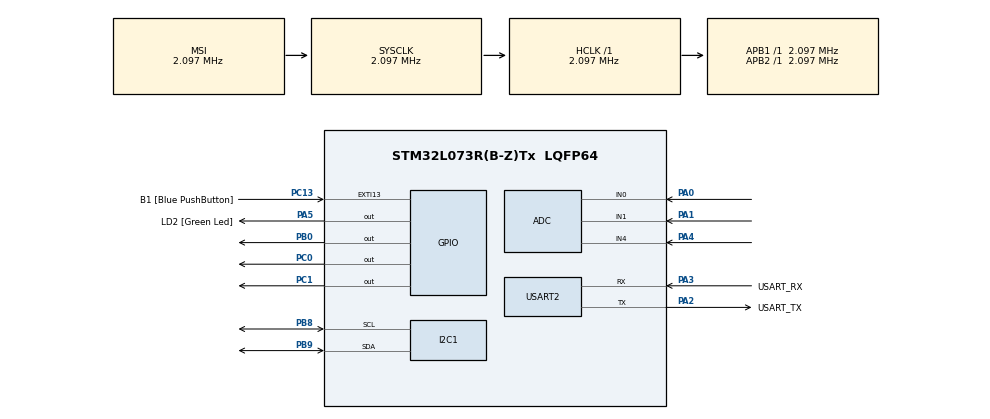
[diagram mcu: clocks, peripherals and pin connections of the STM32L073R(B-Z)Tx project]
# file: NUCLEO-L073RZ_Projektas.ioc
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ADC.DiscontinuousConvMode=ENABLE
I2C1.Timing=0x00000608
Mcu.Family=STM32L0
Mcu.Name=STM32L073R(B-Z)Tx
Mcu.Package=LQFP64
PA0.Mode=IN0
PA0.Signal=ADC_IN0
PA1.Mode=IN1
PA1.Signal=ADC_IN1
PA13.GPIO_Label=TMS
PA13.Mode=Serial_Wire
PA13.Signal=SYS_SWDIO
PA14.GPIO_Label=TCK
PA14.Mode=Serial_Wire
PA14.Signal=SYS_SWCLK
PA2.GPIO_Label=USART_TX
PA2.Mode=Asynchronous
PA2.Signal=USART2_TX
PA3.GPIO_Label=USART_RX
PA3.Mode=Asynchronous
PA3.Signal=USART2_RX
PA4.Mode=IN4
PA4.Signal=ADC_IN4
PA5.GPIO_Label=LD2 [Green Led]
PA5.Signal=GPIO_Output
PB0.Signal=GPIO_Output
PB8.Mode=I2C
PB8.Signal=I2C1_SCL
PB9.Mode=I2C
PB9.Signal=I2C1_SDA
PC0.Signal=GPIO_Output
PC1.Signal=GPIO_Output
PC13.GPIO_Label=B1 [Blue PushButton]
PC13.GPIO_ModeDefaultEXTI=GPIO_MODE_IT_FALLING
PC13.Signal=GPXTI13
PC14-OSC32_IN.Mode=LSE-External-Oscillator
PC14-OSC32_IN.Signal=RCC_OSC32_IN
PC15-OSC32_OUT.Mode=LSE-External-Oscillator
PC15-OSC32_OUT.Signal=RCC_OSC32_OUT
PH0-OSC_IN.GPIO_Label=MCO
PH0-OSC_IN.Mode=HSE-External-Clock-Source
PH0-OSC_IN.Signal=RCC_OSC_IN
ProjectManager.HeapSize=0x200
ProjectManager.StackSize=0x400
ProjectManager.TargetToolchain=MDK-ARM V5.32
RCC.AHBFreq_Value=2097000
RCC.APB1Freq_Value=2097000
RCC.APB1TimFreq_Value=2097000
RCC.APB2Freq_Value=2097000
RCC.APB2TimFreq_Value=2097000
RCC.HSE_VALUE=8000000
RCC.HSI16_VALUE=16000000
RCC.HSI48_VALUE=48000000
RCC.HSI_VALUE=16000000
RCC.MSI_VALUE=2097000
RCC.SYSCLKFreq_VALUE=2097000
RCC.VCOOutputFreq_Value=48000000
USART2.VirtualMode-Asynchronous=VM_ASYNC
board=NUCLEO-L073RZ

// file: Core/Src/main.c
/* USER CODE BEGIN Header */
/**
  ******************************************************************************
  * @file           : main.c
  * @brief          : Main program body
  ******************************************************************************
  * @attention
  *
  * Copyright (c) 2026 STMicroelectronics.
  * All rights reserved.
  *
  * This software is licensed under terms that can be found in the LICENSE file
  * in the root directory of this software component.
  * If no LICENSE file comes with this software, it is provided AS-IS.
  *
  ******************************************************************************
  */
/* USER CODE END Header */
#include "main.h"

/* USER CODE BEGIN Includes */
#include <string.h>
#include <stdio.h>
#include <math.h>
#include "i2c_lcd.h"
/* USER CODE END Includes */

ADC_HandleTypeDef hadc;

I2C_HandleTypeDef hi2c1;

UART_HandleTypeDef huart2;

void SystemClock_Config(void);
static void MX_GPIO_Init(void);
static void MX_I2C1_Init(void);
static void MX_USART2_UART_Init(void);
static void MX_ADC_Init(void);

int main(void)
{

  /* MCU Configuration--------------------------------------------------------*/

  /* Reset of all peripherals, Initializes the Flash interface and the Systick. */
  HAL_Init();

  /* Configure the system clock */
  SystemClock_Config();

  /* Initialize all configured peripherals */
  MX_GPIO_Init();
  MX_I2C1_Init();
  MX_USART2_UART_Init();
  MX_ADC_Init();
  /* USER CODE BEGIN 2 */
	HAL_Delay(200);
	lcd_init();         // Paleidžiame ekraną
  lcd_clear();        // Išvalome jį
  lcd_put_cur(0, 0);  // Nustatome kursorių į 0 eilutę, 0 stulpelį
  lcd_send_string("Sveiki!"); // Pasisveikiname!
  /* USER CODE END 2 */

  /* Infinite loop */
  while (1)
  {

/* USER CODE BEGIN 3 */

    uint32_t adc_sumos_hv[3] = {0, 0, 0};
    uint32_t adc_sumos_lv[3] = {0, 0, 0};
    float itampa[3] = {0.0f, 0.0f, 0.0f};
    float vidurkis;
    char zinute[128];
    static uint8_t lcd_skaitiklis = 0;

    // =========================================================================
    // 1. AUKŠTOS ĮTAMPOS REŽIMAS (Saugus matavimas, koeficientas x11)
    // =========================================================================

    GPIO_InitTypeDef GPIO_InitStruct = {0};
    GPIO_InitStruct.Mode = GPIO_MODE_OUTPUT_PP;
    GPIO_InitStruct.Speed = GPIO_SPEED_FREQ_LOW;

    // V1 kanalas: Griežtai priverčiame PB0 tapti žeme (GND)
    GPIO_InitStruct.Pin = GPIO_PIN_0;
    HAL_GPIO_Init(GPIOB, &GPIO_InitStruct);
    HAL_GPIO_WritePin(GPIOB, GPIO_PIN_0, GPIO_PIN_RESET);

    // V2 ir V3 kanalai: Griežtai priverčiame PC1 ir PC0 tapti žeme (GND)
    GPIO_InitStruct.Pin = GPIO_PIN_0 | GPIO_PIN_1;
    HAL_GPIO_Init(GPIOC, &GPIO_InitStruct);
    HAL_GPIO_WritePin(GPIOC, GPIO_PIN_0 | GPIO_PIN_1, GPIO_PIN_RESET);

    HAL_Delay(5); // Leidžiame grandinei stabilizuotis

    // Nuskaitome ADC
    for (int ciklas = 0; ciklas < 10; ciklas++) {
        for (int i = 0; i < 3; i++) {
            HAL_ADC_Start(&hadc);
            HAL_ADC_PollForConversion(&hadc, 10);
            adc_sumos_hv[i] += HAL_ADC_GetValue(&hadc);
        }
        HAL_ADC_Stop(&hadc);
    }

    float kalibracija_hv[3] = {0.9610f, 0.9532f, 0.9630f};

    // Apskaičiuojame preliminarias įtampas (su x11 dalikliu ir pritaikyta kalibracija)
    for (int i = 0; i < 3; i++) {
        itampa[i] = ((float)adc_sumos_hv[i] / 10.0f / 4095.0f) * 3.3f * 11.0f * kalibracija_hv[i];
    }

    // =========================================================================
    // 2. IŠMANUSIS ŽEMOS ĮTAMPOS REŽIMAS (Auto-Ranging + KALIBRACIJA)
    // =========================================================================

    uint8_t low_voltage_mode[3] = {0, 0, 0};

    // SVARBU: Perjungiame į tikslų LV režimą TIK JEI esame tikri, kad tai ne triukšmas (> 0.20 V)
    // V1 kanalas (PB0)
    if (itampa[0] > 0.20f && itampa[0] < 3.0f) {
        low_voltage_mode[0] = 1; GPIO_InitStruct.Pin = GPIO_PIN_0; GPIO_InitStruct.Mode = GPIO_MODE_INPUT; HAL_GPIO_Init(GPIOB, &GPIO_InitStruct);
    }
    // V2 kanalas (PC1)
    if (itampa[1] > 0.20f && itampa[1] < 3.0f) {
        low_voltage_mode[1] = 1; GPIO_InitStruct.Pin = GPIO_PIN_1; GPIO_InitStruct.Mode = GPIO_MODE_INPUT; HAL_GPIO_Init(GPIOC, &GPIO_InitStruct);
    }
    // V3 kanalas (PC0)
    if (itampa[2] > 0.20f && itampa[2] < 3.0f) {
        low_voltage_mode[2] = 1; GPIO_InitStruct.Pin = GPIO_PIN_0; GPIO_InitStruct.Mode = GPIO_MODE_INPUT; HAL_GPIO_Init(GPIOC, &GPIO_InitStruct);
    }

    // Jei bent vienam kanalui reikia tikslumo, darome antrą matavimą BE daliklio
    if (low_voltage_mode[0] || low_voltage_mode[1] || low_voltage_mode[2]) {
        HAL_Delay(5);

        for (int ciklas = 0; ciklas < 10; ciklas++) {
            for (int i = 0; i < 3; i++) {
                HAL_ADC_Start(&hadc);
                HAL_ADC_PollForConversion(&hadc, 10);
                uint32_t val = HAL_ADC_GetValue(&hadc);
                if (low_voltage_mode[i]) {
                    adc_sumos_lv[i] += val;
                }
            }
            HAL_ADC_Stop(&hadc);
        }

				float kalibracija_lv[3] = {0.9615f, 0.9615f, 0.9615f};

        // Perskaičiuojame tiksliai (daugiklis x1.0) pritaikant kalibraciją
        for (int i = 0; i < 3; i++) {
            if (low_voltage_mode[i]) {
                itampa[i] = ((float)adc_sumos_lv[i] / 10.0f / 4095.0f) * 3.3f * 1.0f * kalibracija_lv[i];
            }
        }
    }

    // =========================================================================
    // 3. TRIUKŠMŲ FILTRAS IR IŠVEDIMAS
    // =========================================================================

		float suma = 0.0f;
    int aktyvus_kanalai = 0;

    // Viskas, kas yra žemiau 1 V (tušti laidai ir triukšmas), yra nulinama
    for (int i = 0; i < 3; i++) {
        if (itampa[i] < 1.0f) {
            itampa[i] = 0.0f;
        } else {
            // Jei kanalas aktyvus (rodo > 0.05 V), pridedame jį prie sumos
            suma += itampa[i];
            aktyvus_kanalai++;
        }
    }

    // Išmanusis vidurkis: daliname tik iš tų kanalų, prie kurių prijungta įtampa
    if (aktyvus_kanalai > 0) {
        vidurkis = suma / (float)aktyvus_kanalai;
    } else {
        vidurkis = 0.0f;
    }

    int v1_sv = (int)itampa[0]; int v1_tr = (int)(fabs(itampa[0] - v1_sv) * 100);
    int v2_sv = (int)itampa[1]; int v2_tr = (int)(fabs(itampa[1] - v2_sv) * 100);
    int v3_sv = (int)itampa[2]; int v3_tr = (int)(fabs(itampa[2] - v3_sv) * 100);
    int vid_sv = (int)vidurkis; int vid_tr = (int)(fabs(vidurkis - vid_sv) * 100);

    sprintf(zinute, "V1: %2d.%02d V | V2: %2d.%02d V | V3: %2d.%02d V ---> Vidurkis: %2d.%02d V\r\n",
            v1_sv, v1_tr, v2_sv, v2_tr, v3_sv, v3_tr, vid_sv, vid_tr);
    HAL_UART_Transmit(&huart2, (uint8_t*)zinute, strlen(zinute), 1000);

    lcd_skaitiklis++;
    if (lcd_skaitiklis >= 2) {
        lcd_skaitiklis = 0;
        char eilute1[32];
        char eilute2[32];

        sprintf(eilute1, "V1:%2d.%02dV2:%2d.%02d", v1_sv, v1_tr, v2_sv, v2_tr);
        sprintf(eilute2, "V3:%2d.%02dVD:%2d.%02d", v3_sv, v3_tr, vid_sv, vid_tr);

        lcd_put_cur(0, 0);
        lcd_send_string(eilute1);
        lcd_put_cur(1, 0);
        lcd_send_string(eilute2);
    }

    HAL_Delay(1000);
  }
/* USER CODE END 3 */
}

void SystemClock_Config(void)
{
  RCC_OscInitTypeDef RCC_OscInitStruct = {0};
  RCC_ClkInitTypeDef RCC_ClkInitStruct = {0};
  RCC_PeriphCLKInitTypeDef PeriphClkInit = {0};

  /** Configure the main internal regulator output voltage
  */
  __HAL_PWR_VOLTAGESCALING_CONFIG(PWR_REGULATOR_VOLTAGE_SCALE1);

  /** Initializes the RCC Oscillators according to the specified parameters
  * in the RCC_OscInitTypeDef structure.
  */
  RCC_OscInitStruct.OscillatorType = RCC_OSCILLATORTYPE_MSI;
  RCC_OscInitStruct.MSIState = RCC_MSI_ON;
  RCC_OscInitStruct.MSICalibrationValue = 0;
  RCC_OscInitStruct.MSIClockRange = RCC_MSIRANGE_5;
  RCC_OscInitStruct.PLL.PLLState = RCC_PLL_NONE;
  if (HAL_RCC_OscConfig(&RCC_OscInitStruct) != HAL_OK)
  {
    Error_Handler();
  }

  /** Initializes the CPU, AHB and APB buses clocks
  */
  RCC_ClkInitStruct.ClockType = RCC_CLOCKTYPE_HCLK|RCC_CLOCKTYPE_SYSCLK
                              |RCC_CLOCKTYPE_PCLK1|RCC_CLOCKTYPE_PCLK2;
  RCC_ClkInitStruct.SYSCLKSource = RCC_SYSCLKSOURCE_MSI;
  RCC_ClkInitStruct.AHBCLKDivider = RCC_SYSCLK_DIV1;
  RCC_ClkInitStruct.APB1CLKDivider = RCC_HCLK_DIV1;
  RCC_ClkInitStruct.APB2CLKDivider = RCC_HCLK_DIV1;

  if (HAL_RCC_ClockConfig(&RCC_ClkInitStruct, FLASH_LATENCY_0) != HAL_OK)
  {
    Error_Handler();
  }
  PeriphClkInit.PeriphClockSelection = RCC_PERIPHCLK_USART2|RCC_PERIPHCLK_I2C1;
  PeriphClkInit.Usart2ClockSelection = RCC_USART2CLKSOURCE_PCLK1;
  PeriphClkInit.I2c1ClockSelection = RCC_I2C1CLKSOURCE_PCLK1;
  if (HAL_RCCEx_PeriphCLKConfig(&PeriphClkInit) != HAL_OK)
  {
    Error_Handler();
  }
}

static void MX_ADC_Init(void)
{

  ADC_ChannelConfTypeDef sConfig = {0};

  /** Configure the global features of the ADC (Clock, Resolution, Data Alignment and number of conversion)
  */
  hadc.Instance = ADC1;
  hadc.Init.OversamplingMode = DISABLE;
  hadc.Init.ClockPrescaler = ADC_CLOCK_SYNC_PCLK_DIV1;
  hadc.Init.Resolution = ADC_RESOLUTION_12B;
  hadc.Init.SamplingTime = ADC_SAMPLETIME_160CYCLES_5;
  hadc.Init.ScanConvMode = ADC_SCAN_DIRECTION_FORWARD;
  hadc.Init.DataAlign = ADC_DATAALIGN_RIGHT;
  hadc.Init.ContinuousConvMode = DISABLE;
  hadc.Init.DiscontinuousConvMode = ENABLE;
  hadc.Init.ExternalTrigConvEdge = ADC_EXTERNALTRIGCONVEDGE_NONE;
  hadc.Init.ExternalTrigConv = ADC_SOFTWARE_START;
  hadc.Init.DMAContinuousRequests = DISABLE;
  hadc.Init.EOCSelection = ADC_EOC_SINGLE_CONV;
  hadc.Init.Overrun = ADC_OVR_DATA_PRESERVED;
  hadc.Init.LowPowerAutoWait = DISABLE;
  hadc.Init.LowPowerFrequencyMode = ENABLE;
  hadc.Init.LowPowerAutoPowerOff = DISABLE;
  if (HAL_ADC_Init(&hadc) != HAL_OK)
  {
    Error_Handler();
  }

  /** Configure for the selected ADC regular channel to be converted.
  */
  sConfig.Channel = ADC_CHANNEL_0;
  sConfig.Rank = ADC_RANK_CHANNEL_NUMBER;
  if (HAL_ADC_ConfigChannel(&hadc, &sConfig) != HAL_OK)
  {
    Error_Handler();
  }

  /** Configure for the selected ADC regular channel to be converted.
  */
  sConfig.Channel = ADC_CHANNEL_1;
  if (HAL_ADC_ConfigChannel(&hadc, &sConfig) != HAL_OK)
  {
    Error_Handler();
  }

  /** Configure for the selected ADC regular channel to be converted.
  */
  sConfig.Channel = ADC_CHANNEL_4;
  if (HAL_ADC_ConfigChannel(&hadc, &sConfig) != HAL_OK)
  {
    Error_Handler();
  }

}

static void MX_I2C1_Init(void)
{

  hi2c1.Instance = I2C1;
  hi2c1.Init.Timing = 0x00000608;
  hi2c1.Init.OwnAddress1 = 0;
  hi2c1.Init.AddressingMode = I2C_ADDRESSINGMODE_7BIT;
  hi2c1.Init.DualAddressMode = I2C_DUALADDRESS_DISABLE;
  hi2c1.Init.OwnAddress2 = 0;
  hi2c1.Init.OwnAddress2Masks = I2C_OA2_NOMASK;
  hi2c1.Init.GeneralCallMode = I2C_GENERALCALL_DISABLE;
  hi2c1.Init.NoStretchMode = I2C_NOSTRETCH_DISABLE;
  if (HAL_I2C_Init(&hi2c1) != HAL_OK)
  {
    Error_Handler();
  }

  /** Configure Analogue filter
  */
  if (HAL_I2CEx_ConfigAnalogFilter(&hi2c1, I2C_ANALOGFILTER_ENABLE) != HAL_OK)
  {
    Error_Handler();
  }

  /** Configure Digital filter
  */
  if (HAL_I2CEx_ConfigDigitalFilter(&hi2c1, 0) != HAL_OK)
  {
    Error_Handler();
  }

}

static void MX_USART2_UART_Init(void)
{

  huart2.Instance = USART2;
  huart2.Init.BaudRate = 115200;
  huart2.Init.WordLength = UART_WORDLENGTH_8B;
  huart2.Init.StopBits = UART_STOPBITS_1;
  huart2.Init.Parity = UART_PARITY_NONE;
  huart2.Init.Mode = UART_MODE_TX_RX;
  huart2.Init.HwFlowCtl = UART_HWCONTROL_NONE;
  huart2.Init.OverSampling = UART_OVERSAMPLING_16;
  huart2.Init.OneBitSampling = UART_ONE_BIT_SAMPLE_DISABLE;
  huart2.AdvancedInit.AdvFeatureInit = UART_ADVFEATURE_NO_INIT;
  if (HAL_UART_Init(&huart2) != HAL_OK)
  {
    Error_Handler();
  }

}

static void MX_GPIO_Init(void)
{
  GPIO_InitTypeDef GPIO_InitStruct = {0};

  /* GPIO Ports Clock Enable */
  __HAL_RCC_GPIOC_CLK_ENABLE();
  __HAL_RCC_GPIOH_CLK_ENABLE();
  __HAL_RCC_GPIOA_CLK_ENABLE();
  __HAL_RCC_GPIOB_CLK_ENABLE();

  /*Configure GPIO pin Output Level */
  HAL_GPIO_WritePin(GPIOC, GPIO_PIN_0|GPIO_PIN_1, GPIO_PIN_RESET);

  /*Configure GPIO pin Output Level */
  HAL_GPIO_WritePin(LD2_GPIO_Port, LD2_Pin, GPIO_PIN_RESET);

  /*Configure GPIO pin Output Level */
  HAL_GPIO_WritePin(GPIOB, GPIO_PIN_0, GPIO_PIN_RESET);

  /*Configure GPIO pin : B1_Pin */
  GPIO_InitStruct.Pin = B1_Pin;
  GPIO_InitStruct.Mode = GPIO_MODE_IT_FALLING;
  GPIO_InitStruct.Pull = GPIO_NOPULL;
  HAL_GPIO_Init(B1_GPIO_Port, &GPIO_InitStruct);

  /*Configure GPIO pins : PC0 PC1 */
  GPIO_InitStruct.Pin = GPIO_PIN_0|GPIO_PIN_1;
  GPIO_InitStruct.Mode = GPIO_MODE_OUTPUT_PP;
  GPIO_InitStruct.Pull = GPIO_NOPULL;
  GPIO_InitStruct.Speed = GPIO_SPEED_FREQ_LOW;
  HAL_GPIO_Init(GPIOC, &GPIO_InitStruct);

  /*Configure GPIO pin : LD2_Pin */
  GPIO_InitStruct.Pin = LD2_Pin;
  GPIO_InitStruct.Mode = GPIO_MODE_OUTPUT_PP;
  GPIO_InitStruct.Pull = GPIO_NOPULL;
  GPIO_InitStruct.Speed = GPIO_SPEED_FREQ_LOW;
  HAL_GPIO_Init(LD2_GPIO_Port, &GPIO_InitStruct);

  /*Configure GPIO pin : PB0 */
  GPIO_InitStruct.Pin = GPIO_PIN_0;
  GPIO_InitStruct.Mode = GPIO_MODE_OUTPUT_PP;
  GPIO_InitStruct.Pull = GPIO_NOPULL;
  GPIO_InitStruct.Speed = GPIO_SPEED_FREQ_LOW;
  HAL_GPIO_Init(GPIOB, &GPIO_InitStruct);

}

void Error_Handler(void)
{
  __disable_irq();
  while (1)
  {
  }
}
